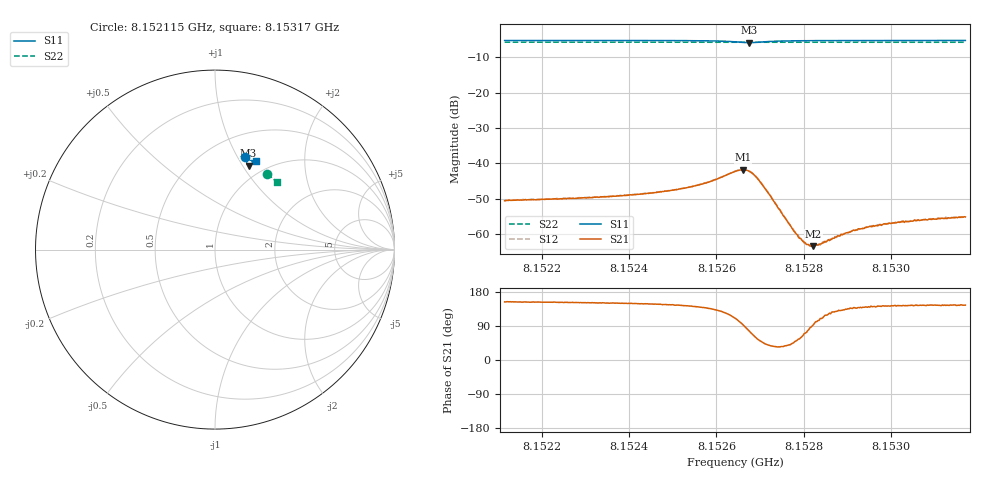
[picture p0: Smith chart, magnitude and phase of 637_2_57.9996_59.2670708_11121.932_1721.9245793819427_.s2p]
#  HZ  S  RI  R  50.00
! Rohde & Schwarz Vector Network Analyzer
! Rohde-Schwarz,ZNB20-2Port,1311601062101988,3.16
! Created: UTC 3/21/2024, 1:18:53 AM
! freq[Hz]  re:S11  im:S11  re:S21  im:S21  re:S12  im:S12  re:S22  im:S22
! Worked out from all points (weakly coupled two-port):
!   401 points, 8.152115 GHz to 8.15317 GHz, reference 50 ohm
!   highest |S21| = -41.74 dB at 8.152661 GHz (marker M1); lowest = -63.3 dB at 8.152822 GHz (marker M2)
!   lowest |S11| = -5.9 dB at 8.152674 GHz (marker M3), VSWR 3.04, Z = 42.3 + j53.2 ohm
!   |S11| at or under -10 dB: nowhere
!   |S22| runs from -5.9 to -5.8 dB; largest |S21 - S12| = 0.00016
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8.1521145e9  0.1649 0.5148  -0.00266 0.00133  -0.00271 0.00137  0.2924 0.4201
8.1522914e9  0.178 0.5105  -0.00286 0.00157  -0.00289 0.00164  0.3015 0.4136
8.152389e9  0.1856 0.5076  -0.00305 0.00179  -0.00308 0.00186  0.3064 0.4096
8.1524682e9  0.1925 0.5044  -0.00332 0.00216  -0.00331 0.00221  0.3104 0.4062
8.1525236e9  0.1979 0.5013  -0.0036 0.00265  -0.00355 0.00269  0.3133 0.4041
8.1525659e9  0.2027 0.4972  -0.00387 0.00335  -0.00385 0.00341  0.3153 0.4021
8.1526424e9  0.2059 0.4756  -0.00271 0.00723  -0.00267 0.00731  0.3189 0.3983
8.1526609e9  0.1968 0.4684  -0.000391 0.00818  -0.000354 0.00823  0.3193 0.3975
8.1526741e9  0.1868 0.4685  0.00169 0.00763  0.0018 0.00769  0.3195 0.3973
8.1526899e9  0.1781 0.4763  0.00332 0.00562  0.00347 0.00567  0.3201 0.3971
8.1527057e9  0.1766 0.4859  0.00345 0.00357  0.00352 0.00359  0.3209 0.3969
8.1527664e9  0.1894 0.4998  0.00108 0.000898  0.00111 0.000912  0.3243 0.3946
8.1527849e9  0.1927 0.5004  0.000607 0.000782  0.000658 0.000781  0.3253 0.394
8.1528034e9  0.1956 0.5006  0.000245 0.000719  0.000259 0.000708  0.3264 0.3931
8.1528192e9  0.1978 0.5006  1.39e-06 0.000699  1.33e-05 0.000683  0.3271 0.3926
8.1528219e9  0.1982 0.5005  -3.52e-05 0.000683  -3.47e-05 0.000685  0.3273 0.3924
8.1528377e9  0.2 0.5004  -0.000249 0.000691  -0.000243 0.000666  0.3281 0.3917
8.1528747e9  0.2042 0.4996  -0.000573 0.000725  -0.000559 0.000715  0.33 0.3902
8.1529274e9  0.2091 0.4984  -0.000892 0.000798  -0.000884 0.000789  0.3325 0.3879
8.1529961e9  0.2149 0.4965  -0.00115 0.000887  -0.00113 0.000882  0.3359 0.385
8.1530858e9  0.2217 0.4941  -0.00133 0.00095  -0.00135 0.000967  0.3399 0.3811
8.1531703e9  0.2275 0.4916  -0.00144 0.00102  -0.00145 0.00104  0.3441 0.3773
